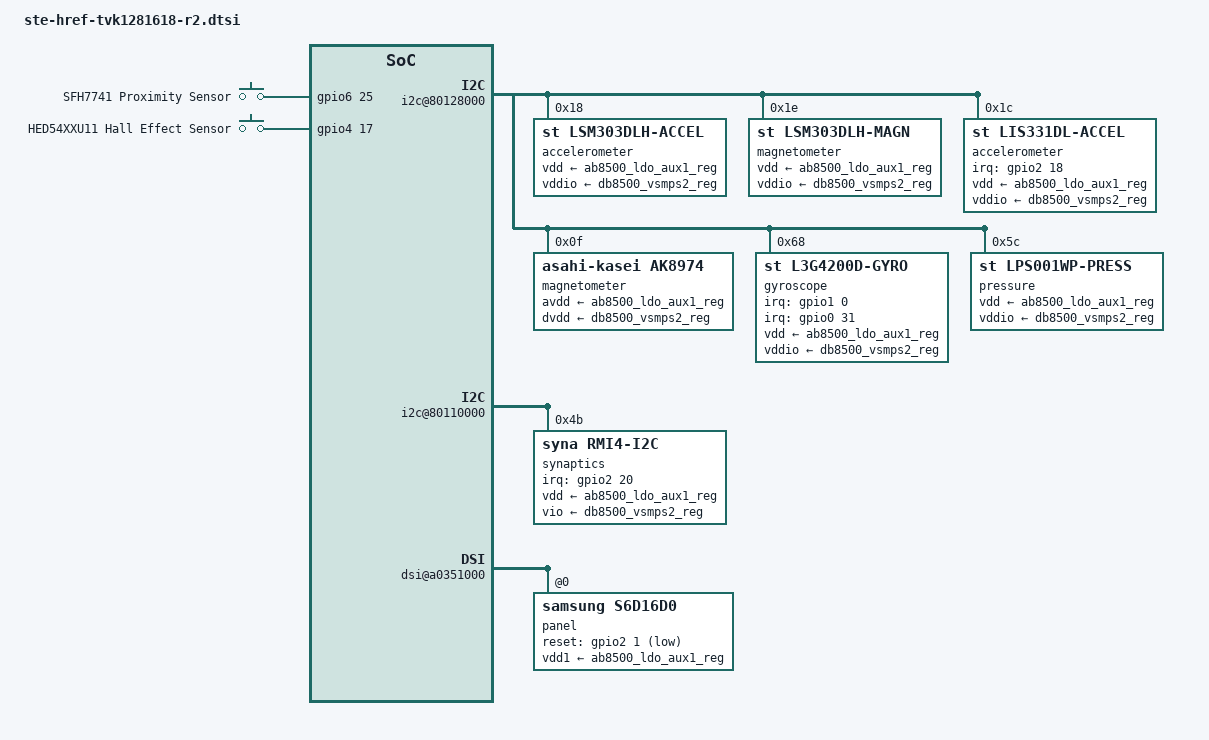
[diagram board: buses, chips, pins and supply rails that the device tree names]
// SPDX-License-Identifier: GPL-2.0-or-later
/*
 * Device Tree for the TVK1281618 R2 user interface board (UIB)
 */

#include <dt-bindings/interrupt-controller/irq.h>
#include <dt-bindings/input/input.h>

/ {
	gpio_keys {
		compatible = "gpio-keys";
		#address-cells = <1>;
		#size-cells = <0>;
		vdd-supply = <&ab8500_ldo_aux1_reg>;
		pinctrl-names = "default";
		pinctrl-0 = <&prox_tvk_mode>, <&hall_tvk_mode>;

		button@139 {
			/* Proximity sensor */
			gpios = <&gpio6 25 GPIO_ACTIVE_HIGH>;
			linux,code = <11>; /* SW_FRONT_PROXIMITY */
			label = "SFH7741 Proximity Sensor";
		};
		button@145 {
			/* Hall sensor */
			gpios = <&gpio4 17 GPIO_ACTIVE_HIGH>;
			linux,code = <0>; /* SW_LID */
			label = "HED54XXU11 Hall Effect Sensor";
		};
	};

	soc {
		i2c@80004000 {
			tc35893@44 {
				compatible = "toshiba,tc35893";
				reg = <0x44>;
				interrupt-parent = <&gpio6>;
				interrupts = <26 IRQ_TYPE_EDGE_RISING>;
				pinctrl-names = "default";
				pinctrl-0 = <&tc35893_tvk_mode>;

				interrupt-controller;
				#interrupt-cells = <1>;
				status = "disabled";

				tc3589x_gpio {
					compatible = "toshiba,tc3589x-gpio";
					interrupts = <0>;

					interrupt-controller;
					#interrupt-cells = <2>;
					gpio-controller;
					#gpio-cells = <2>;
				};
				tc3589x_keypad {
					compatible = "toshiba,tc3589x-keypad";
					interrupts = <6>;
					debounce-delay-ms = <4>;
					keypad,num-columns = <8>;
					keypad,num-rows = <8>;
					linux,no-autorepeat;
					wakeup-source;
					linux,keymap = <MATRIX_KEY(3, 1, KEY_END)>,
						       <MATRIX_KEY(4, 1, KEY_HOME)>,
						       <MATRIX_KEY(6, 4, KEY_VOLUMEDOWN)>,
						       <MATRIX_KEY(4, 2, KEY_EMAIL)>,
						       <MATRIX_KEY(3, 3, KEY_RIGHT)>,
						       <MATRIX_KEY(2, 5, KEY_BACKSPACE)>,
						       <MATRIX_KEY(6, 7, KEY_MENU)>,
						       <MATRIX_KEY(5, 0, KEY_ENTER)>,
						       <MATRIX_KEY(4, 3, KEY_0)>,
						       <MATRIX_KEY(3, 4, KEY_DOT)>,
						       <MATRIX_KEY(5, 2, KEY_UP)>,
						       <MATRIX_KEY(3, 5, KEY_DOWN)>,
						       <MATRIX_KEY(4, 5, KEY_SEND)>,
						       <MATRIX_KEY(0, 5, KEY_BACK)>,
						       <MATRIX_KEY(6, 2, KEY_VOLUMEUP)>,
						       <MATRIX_KEY(1, 3, KEY_SPACE)>,
						       <MATRIX_KEY(7, 6, KEY_LEFT)>,
						       <MATRIX_KEY(5, 5, KEY_SEARCH)>;
				};
			};
		};

		i2c@80128000 {
			accelerometer@18 {
				/* Accelerometer */
				compatible = "st,lsm303dlh-accel";
				st,drdy-int-pin = <1>;
				drive-open-drain;
				reg = <0x18>;
				vdd-supply = <&ab8500_ldo_aux1_reg>;
				vddio-supply = <&db8500_vsmps2_reg>;
				pinctrl-names = "default";
				pinctrl-0 = <&accel_tvk_mode>;
				/*
				 * These interrupts cannot be used: the other component
				 * ST-Micro L3D4200D gyro that is connected to the same lines
				 * cannot set its DRDY line to open drain, so it cannot be
				 * shared with other peripherals. The should be defined for
				 * the falling edge if they could be wired together.
				 *
				 * interrupts-extended =
				 * <&gpio1 0 IRQ_TYPE_EDGE_FALLING>,
				 * <&gpio2 19 IRQ_TYPE_EDGE_FALLING>;
				 */
				mount-matrix = "0", "1", "0",
					       "1", "0", "0",
					       "0", "0", "-1";
			};
			magnetometer@1e {
				/* Magnetometer */
				compatible = "st,lsm303dlh-magn";
				reg = <0x1e>;
				vdd-supply = <&ab8500_ldo_aux1_reg>;
				vddio-supply = <&db8500_vsmps2_reg>;
				/*
				 * These interrupts cannot be used: the other component
				 * ST-Micro L3D4200D gyro that is connected to the same lines
				 * cannot set its DRDY line to open drain, so it cannot be
				 * shared with other peripherals. The should be defined for
				 * the falling edge if they could be wired together.
				 *
				 * interrupts-extended =
				 * <&gpio1 0 IRQ_TYPE_EDGE_FALLING>,
				 * <&gpio2 19 IRQ_TYPE_EDGE_FALLING>;
				 */
			};
			accelerometer@1c {
				/* Accelerometer */
				compatible = "st,lis331dl-accel";
				st,drdy-int-pin = <1>;
				reg = <0x1c>;
				vdd-supply = <&ab8500_ldo_aux1_reg>;
				vddio-supply = <&db8500_vsmps2_reg>;
				pinctrl-names = "default";
				pinctrl-0 = <&accel_tvk_mode>;
				interrupt-parent = <&gpio2>;
				/* INT2 would need to be open drain */
				interrupts = <18 IRQ_TYPE_EDGE_RISING>,
					     <19 IRQ_TYPE_EDGE_RISING>;
				mount-matrix = "0", "-1", "0",
					       "-1", "0", "0",
					       "0", "0", "-1";
			};
			magnetometer@f {
				/* Magnetometer */
				compatible = "asahi-kasei,ak8974";
				reg = <0x0f>;
				avdd-supply = <&ab8500_ldo_aux1_reg>;
				dvdd-supply = <&db8500_vsmps2_reg>;
				pinctrl-names = "default";
				pinctrl-0 = <&gyro_magn_tvk_mode>;
				/*
				 * These interrupts cannot be used: the other component
				 * ST-Micro L3D4200D gyro that is connected to the same lines
				 * cannot set its DRDY line to open drain, so it cannot be
				 * shared with other peripherals. The should be defined for
				 * the falling edge if they could be wired together.
				 *
				 * interrupts-extended =
				 * <&gpio1 0 IRQ_TYPE_EDGE_FALLING>,
				 * <&gpio0 31 IRQ_TYPE_EDGE_FALLING>;
				 */
			};
			gyroscope@68 {
				/* Gyroscope */
				compatible = "st,l3g4200d-gyro";
				st,drdy-int-pin = <2>;
				reg = <0x68>;
				vdd-supply = <&ab8500_ldo_aux1_reg>;
				vddio-supply = <&db8500_vsmps2_reg>;
				pinctrl-names = "default";
				pinctrl-0 = <&gyro_magn_tvk_mode>;
				interrupts-extended =
				<&gpio1 0 IRQ_TYPE_EDGE_RISING>,
				<&gpio0 31 IRQ_TYPE_EDGE_RISING>;
			};
			pressure@5c {
				/* Barometer/pressure sensor */
				compatible = "st,lps001wp-press";
				reg = <0x5c>;
				vdd-supply = <&ab8500_ldo_aux1_reg>;
				vddio-supply = <&db8500_vsmps2_reg>;
			};
		};
		i2c@80110000 {
			synaptics@4b {
				/* Synaptics RMI4 TM1217 touchscreen */
				compatible = "syna,rmi4-i2c";
				#address-cells = <1>;
				#size-cells = <0>;
				reg = <0x4b>;
				vdd-supply = <&ab8500_ldo_aux1_reg>;
				vio-supply = <&db8500_vsmps2_reg>;
				pinctrl-names = "default";
				pinctrl-0 = <&synaptics_tvk_mode>;
				interrupt-parent = <&gpio2>;
				interrupts = <20 IRQ_TYPE_EDGE_FALLING>;

				rmi4-f01@1 {
					reg = <0x1>;
					syna,nosleep-mode = <1>;
				};
				rmi4-f11@11 {
					reg = <0x11>;
					syna,sensor-type = <1>;
					/* This is a landscape display */
					touchscreen-swapped-x-y;
				};
			};
		};
		mcde@a0350000 {
			status = "okay";

			dsi@a0351000 {
				panel {
					compatible = "samsung,s6d16d0";
					reg = <0>;
					vdd1-supply = <&ab8500_ldo_aux1_reg>;
					reset-gpios = <&gpio2 1 GPIO_ACTIVE_LOW>;
				};
			};
		};
		pinctrl {
			prox {
				prox_tvk_mode: prox_tvk {
					tvk_cfg {
						pins = "GPIO217_AH12";
						ste,config = <&gpio_in_pu>;
					};
				};
			};
			hall {
				hall_tvk_mode: hall_tvk {
					tvk_cfg {
						pins = "GPIO145_C13";
						ste,config = <&gpio_in_pu>;
					};
				};
			};
			tc35893 {
				/* IRQ from the TC35893 */
				tc35893_tvk_mode: tc35893_tvk {
					tvk_cfg {
						pins = "GPIO218_AH11";
						ste,config = <&gpio_in_pu>;
					};
				};
			};
			accelerometer {
				accel_tvk_mode: accel_tvk {
					/* Accelerometer interrupt lines 1 & 2 */
					tvk_cfg {
						pins = "GPIO82_C1", "GPIO83_D3";
						ste,config = <&gpio_in_pd>;
					};
				};
			};
			gyroscope {
				/*
				 * These lines are shared between Gyroscope l3g400dh
				 * and AK8974 magnetometer.
				 */
				gyro_magn_tvk_mode: gyro_magn_tvk {
					 /* GPIO 31 used for INT pull down the line */
					tvk_cfg1 {
						pins = "GPIO31_V3";
						ste,config = <&gpio_in_pd>;
					};
					/* GPIO 32 used for DRDY, pull this down */
					tvk_cfg2 {
						pins = "GPIO32_V2";
						ste,config = <&gpio_in_pd>;
					};
				};
			};
			synaptics {
				synaptics_tvk_mode: synaptics_tvk {
					/* Touchscreen uses GPIO 84 */
					tvk_cfg1 {
						pins = "GPIO84_C2";
						ste,config = <&gpio_in_pu>;
					};
				};
			};
		};
	};
};
